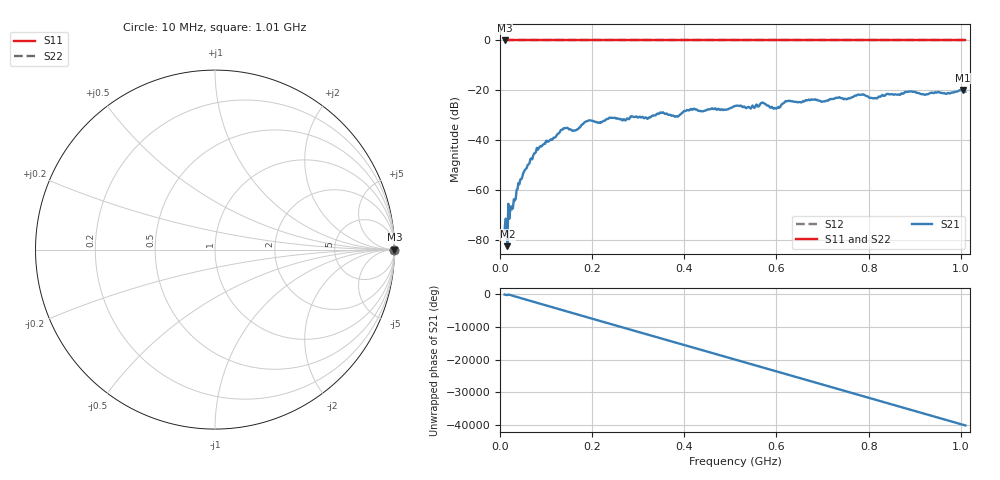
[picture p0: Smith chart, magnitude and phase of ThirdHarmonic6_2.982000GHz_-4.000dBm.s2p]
! 8/17/2025 8:28:21 AM
! C:\ANRITSUVNA\TEMP\TEMP.S2P
! CHANNEL.1
! TR.MEASUREMENT
! RAW.DATA
! RF.CORRECTION.OFF
! AVERAGING.OFF
! IF.BANDWIDTH: 5KHZ
! SWEEPTYPE:  FREQ.SWEEP(Linear)
! Reference Plane Port Info
! PORT:  PORT1  PORT2
! DISTANCE:  0  m  0  m
! TIME:  0  s  0  s
! PHASE.OFFSET:  0  deg.  0  deg.
! LOSS:  0  dB  0  dB
! REF.LOSS:  0  dB  0  dB
! REF.FREQ:  0  Hz  0  Hz
! Power Info
! POWER:  -20  dBm  -20  dBm
! EFF.POWER:  -20  dBm  -20  dBm
! SOURCE.ATTEN:  0  dB  0  dB
! TEST.ATTEN:  0  dB  0  dB
# GHZ S RI R 50.0
! FREQ.GHZ  S11RE  S11IM  S21RE  S21IM  S12RE  S12IM  S22RE  S22IM
!; PortSelection: Port_12
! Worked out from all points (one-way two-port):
!   501 points, 10 MHz to 1.01 GHz, reference 50 ohm
!   highest |S21| = -19.88 dB at 1.004 GHz (marker M1); lowest = -82.4 dB at 16 MHz (marker M2)
!   lowest |S11| = 0.0 dB at 10 MHz (marker M3)
!   |S11| at or under -10 dB: nowhere
!   |S22| runs from 0.0 to 0.0 dB; largest |S21 - S12| = 1.1
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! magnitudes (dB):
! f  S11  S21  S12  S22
! 10 MHz  0.0  -76.0  0.0  0.0
! 12 MHz  0.0  -71.4  0.0  0.0
! 16 MHz  0.0  -82.4  0.0  0.0
! 30 MHz  0.0  -63.7  0.0  0.0
! 40 MHz  0.0  -57.1  0.0  0.0
! 78 MHz  0.0  -44.6  0.0  0.0
! 136 MHz  0.0  -35.7  0.0  0.0
! 162 MHz  0.0  -36.1  0.0  0.0
! 178 MHz  0.0  -33.7  0.0  0.0
! 194 MHz  0.0  -32.0  0.0  0.0
! 322 MHz  0.0  -31.1  0.0  0.0
! 344 MHz  0.0  -29.4  0.0  0.0
! 384 MHz  0.0  -30.4  0.0  0.0
! 418 MHz  0.0  -27.8  0.0  0.0
! 510 MHz  0.0  -26.2  0.0  0.0
! 570 MHz  0.0  -24.9  0.0  0.0
! 598 MHz  0.0  -27.2  0.0  0.0
! 622 MHz  0.0  -24.4  0.0  0.0
! 678 MHz  0.0  -23.7  0.0  0.0
! 844 MHz  0.0  -21.6  0.0  0.0
! 1.004 GHz  0.0  -19.9  0.0  0.0
! 1.01 GHz  0.0  -20.5  0.0  0.0
